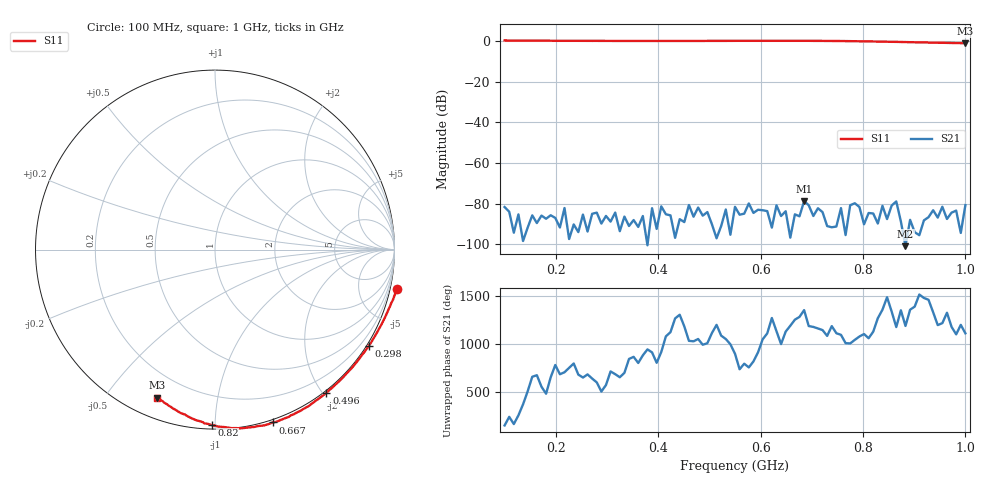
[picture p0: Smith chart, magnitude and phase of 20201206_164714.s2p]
# HZ S RI R 50
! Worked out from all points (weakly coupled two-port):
!   101 points, 100 MHz to 1 GHz, reference 50 ohm
!   highest |S21| = -78.72 dB at 685 MHz (marker M1); lowest = -100.9 dB at 883 MHz (marker M2)
!   lowest |S11| = -1.1 dB at 1 GHz (marker M3), VSWR 16.56, Z = 4.41 - j33.9 ohm
!   |S11| at or under -10 dB: nowhere
!   S12 and S22 are empty: the file has one direction only
!   S11 on the Smith chart (normalised r, x): 100 MHz: -1.51, -9.10; 298 MHz: -0.07, -3.48; 496 MHz: -0.03, -2.05; 667 MHz: -0.02, -1.39; 820 MHz: 0.02, -0.98; 1 GHz: 0.09, -0.68
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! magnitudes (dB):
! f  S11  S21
! 100 MHz  0.3  -81.7
! 253 MHz  0.1  -85.4
! 298 MHz  0.1  -86.0
! 406 MHz  0.1  -81.3
! 496 MHz  0.1  -84.1
! 550 MHz  0.1  -81.6
! 577 MHz  0.1  -79.9
! 586 MHz  0.1  -84.6
! 667 MHz  0.1  -85.3
! 676 MHz  0.1  -86.2
! 685 MHz  0.1  -78.7
! 694 MHz  0.1  -80.8
! 703 MHz  0.1  -86.1
! 775 MHz  0.0  -80.8
! 784 MHz  -0.1  -79.8
! 793 MHz  -0.1  -81.6
! 820 MHz  -0.2  -84.8
! 856 MHz  -0.4  -80.9
! 865 MHz  -0.4  -78.9
! 874 MHz  -0.4  -88.8
! 883 MHz  -0.5  -100.9
! 1 GHz  -1.1  -80.7
